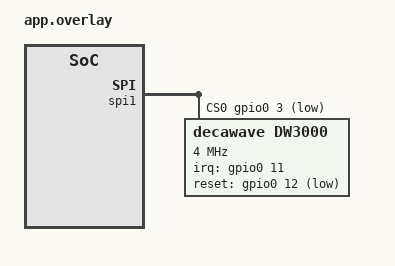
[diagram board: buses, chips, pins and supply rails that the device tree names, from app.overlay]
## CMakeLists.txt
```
# SPDX-License-Identifier: Apache-2.0

if(CONFIG_DW3000)

# Utilisation de zephyr_library pour les fichiers sources
zephyr_library()

zephyr_library_sources(
    platform/deca_port.c
    platform/dw3000_hw.c
    platform/dw3000_spi.c
    platform/dw3000_spi_trace.c
    platform/deca_compat.c
    dwt_uwb_driver/deca_interface.c
    dwt_uwb_driver/deca_rsl.c
    dwt_uwb_driver/lib/qmath/src/qmath.c
)

zephyr_library_sources_ifdef(CONFIG_DW3000_CHIP_DW3000 dwt_uwb_driver/dw3000/dw3000_device.c)
zephyr_library_sources_ifdef(CONFIG_DW3000_CHIP_DW3720 dwt_uwb_driver/dw3720/dw3720_device.c)

zephyr_include_directories(platform)
zephyr_include_directories(dwt_uwb_driver)
zephyr_include_directories(dwt_uwb_driver/lib/qmath/include)

endif(CONFIG_DW3000)

# Chargement explicite du SDK Nordic obligatoire
find_package(Zephyr REQUIRED HINTS $ENV{ZEPHYR_BASE})

project(uwb_receiver2)

# Fichier principal
target_sources(app PRIVATE src/main.c)

# Support BLE NUS (Nordic UART Service)
target_sources(app PRIVATE ${ZEPHYR_BASE}/../nrf/subsys/bluetooth/services/nus.c)
zephyr_include_directories(${ZEPHYR_BASE}/../nrf/subsys/bluetooth/services)
zephyr_include_directories(${ZEPHYR_BASE}/../nrf/include)
```

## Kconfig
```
# Désactiver OpenThread
config OPENTHREAD
    bool "Disable OpenThread"
    default n

config OPENTHREAD_DYNAMIC_STORE_FRAME_AHEAD_COUNTER
    bool "Disable dynamic store frame ahead counter"
    default n

config OPENTHREAD_CSL_RECEIVER_LOCAL_TIME_SYNC
    bool "Disable Openthread CSL receiver local time sync"
    default n

# Désactiver le support MCUMGR (pour la gestion du firmware)
config MCUMGR
    bool "Disable MCUMGR"
    default n

# Désactiver le Bluetooth
config BT
    bool "Disable Bluetooth stack"
    default n

# Désactiver Link Layer Split pour Bluetooth
config BT_LL_SW_SPLIT
    bool "Disable Bluetooth Link Layer Software Split"
    default n

# Désactiver Bluetooth UART Service (NUS)
config BT_NUS
    bool "Disable Bluetooth NUS"
    default n

# Désactiver les modules Wi-Fi
config WIFI_NM
    bool "Disable Wi-Fi"
    default n

config WIFI_NM_WPA_SUPPLICANT_WPA3
    bool "Disable WPA3"
    default n

config WIFI_NM_WPA_SUPPLICANT_CRYPTO_ENTERPRISE
    bool "Disable WPA Enterprise Crypto"
    default n

# Désactiver les modules inutiles pour le modem
config NRF_MODEM_LIB
    bool "Disable modem library"
    default n
```

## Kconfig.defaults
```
CONFIG_OPENTHREAD=n
CONFIG_OPENTHREAD_SHELL=n
CONFIG_OPENTHREAD_NORDIC_LIBRARY=n
CONFIG_OPENTHREAD_MTD=n
CONFIG_OPENTHREAD_FTD=n

CONFIG_WIFI=n
CONFIG_WIFI_NM=n
CONFIG_WIFI_NM_WPA_SUPPLICANT=n
CONFIG_WIFI_NM_WPA_SUPPLICANT_WPA3=n
CONFIG_WIFI_NM_WPA_SUPPLICANT_CRYPTO_ENTERPRISE=n

CONFIG_NRF_MODEM_LIB=n
CONFIG_MCUMGR=n
CONFIG_BOOTLOADER_MCUBOOT=n
CONFIG_FPROTECT=n
```

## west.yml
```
manifest:
  remotes:
    - name: ncs
      url-base: https://github.com/nrfconnect

  projects:
    - name: nrf
      repo-path: sdk-nrf
      remote: ncs
      revision: v2.9.1
      import: true

  self:
    path: uwb_receiver2
```

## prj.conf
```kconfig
CONFIG_WARN_DEPRECATED=n
CONFIG_OPENTHREAD=n
CONFIG_BT=n
CONFIG_MCUMGR=n
CONFIG_BT_LL_SW_SPLIT=n   # Désactive le Link Layer Split si non utilisé
CONFIG_WIFI_NM=n
CONFIG_NRF_MODEM_LIB=n

# === Console & Logs ===
CONFIG_LOG=y
CONFIG_LOG_MODE_IMMEDIATE=y
CONFIG_LOG_DEFAULT_LEVEL=3
CONFIG_PRINTK=y
CONFIG_SERIAL=y
CONFIG_UART_CONSOLE=y
CONFIG_CONSOLE=y

# === Périphériques ===
CONFIG_GPIO=y
CONFIG_SPI=y

# === DW3000 ===
CONFIG_DW3000=y
CONFIG_DW3000_MAC=y
CONFIG_DW3000_AUTO_ACK=y
CONFIG_DW3000_IRQ_GPIO=y
CONFIG_DW3000_DEV_NAME="DW3000"
CONFIG_DW3000_SPI_INIT_PRIORITY=90
CONFIG_DW3000_THREAD_STACK_SIZE=2048
CONFIG_DW3000_THREAD_PRIO=2
CONFIG_DW3000_CHIP_DW3000=y

# === Bluetooth (NUS) ===
CONFIG_BT=y
CONFIG_BT_PERIPHERAL=y
CONFIG_BT_DEVICE_NAME="UWB_BEACON"
CONFIG_BT_MAX_CONN=1
CONFIG_BT_NUS=y
CONFIG_BT_GATT_DYNAMIC_DB=y
```

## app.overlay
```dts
&spi1 {
    status = "okay";
    cs-gpios = <&gpio0 3 GPIO_ACTIVE_LOW>; /* P0.03 = SPI CS */

    dw3000: dw3000@0 {
        compatible = "decawave,dw3000";
        reg = <0>;
        spi-max-frequency = <4000000>;
        irq-gpios = <&gpio0 11 GPIO_ACTIVE_HIGH>; /* P0.11 = IRQ */
        reset-gpios = <&gpio0 12 GPIO_ACTIVE_LOW>; /* P0.12 = RESET */
        label = "DW3000";
        status = "okay";
    };
};

&{/aliases} {
    dw3000 = &dw3000;
};
```

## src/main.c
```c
#include <zephyr/kernel.h>
#include <zephyr/device.h>
#include <zephyr/logging/log.h>
#include <zephyr/drivers/uart.h>
#include <zephyr/sys/printk.h>
#include <bluetooth/bluetooth.h>
#include <bluetooth/conn.h>
#include <bluetooth/gatt.h>
#include <bluetooth/services/nus.h>
#include <stdio.h>
#include <string.h>
#include <stdlib.h>

#include "deca_device_api.h"
#include "dw3000_deca_regs.h"

LOG_MODULE_REGISTER(main);

#define UART_DEVICE_NODE DT_CHOSEN(zephyr_console)
#define MAX_STORED_TSTAMPS 20
#define RECEIVER_ID 1  // À personnaliser par balise
#define SYNC_TIMEOUT_MS 60000  // 60 secondes

static const struct device *uart_dev = DEVICE_DT_GET(UART_DEVICE_NODE);

K_THREAD_STACK_DEFINE(uart_stack, 1024);
struct k_thread uart_thread;

K_SEM_DEFINE(bt_cmd_sem, 0, 1);

// Tableau pour stocker les timestamps
static uint64_t timestamps[MAX_STORED_TSTAMPS];
static int ts_index = 0;
static uint64_t synced_time_ref = 0;
static int64_t last_sync_time = 0;

static struct bt_nus_cb nus_cb = {
    .received = NULL,
};

void store_timestamp(uint64_t ts_val) {
    timestamps[ts_index] = ts_val;
    ts_index = (ts_index + 1) % MAX_STORED_TSTAMPS;
}

void uart_thread_fn(void *a, void *b, void *c) {
    uint8_t bt_cmd[2] = {0};
    size_t idx = 0;

    static char sync_buf[32];
    static int sync_idx = 0;

    while (1) {
        uint8_t ch;
        if (uart_poll_in(uart_dev, &ch) == 0) {
            // Détection de la commande BT
            if (ch == 'B' || ch == 'T') {
                bt_cmd[idx++] = ch;
                if (idx == 2 && bt_cmd[0] == 'B' && bt_cmd[1] == 'T') {
                    printk("\nCommande BT reçue ! Passage en mode réception UWB...\n");
                    k_sem_give(&bt_cmd_sem);
                    idx = 0;
                }
            } else {
                idx = 0;
            }

            // Commande SYNC
            if (ch == 'S') {
                sync_buf[sync_idx++] = ch;
            } else if (sync_idx > 0) {
                sync_buf[sync_idx++] = ch;
                if (sync_idx >= 5 && strncmp(sync_buf, "SYNC:", 5) == 0) {
                    if (ch == '\n' || ch == '\r') {
                        sync_buf[sync_idx] = '\0';
                        uint64_t ts = strtoull(sync_buf + 5, NULL, 10);
                        synced_time_ref = ts;
                        last_sync_time = k_uptime_get();
                        printk(">> Synchronisation reçue : horloge alignée à %llu\n", synced_time_ref);
                        sync_idx = 0;
                    }
                } else if (sync_idx >= sizeof(sync_buf)) {
                    sync_idx = 0;
                }
            }
        }
        k_msleep(10);
    }
}

int main(void)
{
    printk("Initialisation du module DW3000...\n");

    if (!device_is_ready(uart_dev)) {
        printk("[ERREUR] UART non prête\n");
        return 1;
    }

    dwt_softreset(0);

    if (dwt_initialise(DWT_DW_INIT) != DWT_SUCCESS) {
        printk("\n[ERREUR] Echec initialisation du DW3000\n");
        return 1;
    }

    printk("DW3000 initialisé avec succès !\n");

    dwt_setchannel(5);
    dwt_configuretxrf(NULL);
    dwt_enableautoack(0, 0);
    dwt_setrxtimeout(0);

    k_thread_create(&uart_thread, uart_stack, K_THREAD_STACK_SIZEOF(uart_stack),
                    uart_thread_fn, NULL, NULL, NULL,
                    5, 0, K_NO_WAIT);

    int err = bt_enable(NULL);
    if (err) {
        printk("Bluetooth init failed (err %d)\n", err);
        return 1;
    }
    printk("Bluetooth initialized\n");

    err = bt_nus_init(&nus_cb);
    if (err) {
        printk("Failed to init NUS (err %d)\n", err);
        return 1;
    }

    err = bt_le_adv_start(BT_LE_ADV_CONN_NAME, NULL, 0, NULL, 0);
    if (err) {
        printk("BLE advertising failed (err %d)\n", err);
        return 1;
    }
    printk("BLE advertising started\n");

    printk("En attente d'une commande 'BT' via UART...\n");

    uint8_t rx_buffer[127];
    uint8_t ts[5];
    int msg_count = 0;

    while (1) {
        k_sem_take(&bt_cmd_sem, K_FOREVER);
        dwt_rxenable(DWT_START_RX_IMMEDIATE);

        int timeout = 500;
        while (timeout-- > 0) {
            if (dwt_checkirq() && dwt_readrdbstatus() & DWT_RDB_STATUS_RXFCG0_BIT_MASK) {
                dwt_readrxdata(rx_buffer, sizeof(rx_buffer), 0);
                dwt_readrxtimestamp(ts, 0);

                uint64_t ts_val = 0;
                for (int i = 0; i < 5; i++) {
                    ts_val |= ((uint64_t)ts[i]) << (i * 8);
                }

                // Timeout de resynchronisation
                if (synced_time_ref > 0 && (k_uptime_get() - last_sync_time > SYNC_TIMEOUT_MS)) {
                    printk("[INFO] Réinitialisation horloge (plus de synchro)\n");
                    synced_time_ref = 0;
                }

                uint64_t ts_relative = (synced_time_ref > 0) ? ts_val - synced_time_ref : ts_val;

                store_timestamp(ts_val);
                msg_count++;
                printk("\n[%d] Message UWB reçu : %s\n", msg_count, rx_buffer);
                printk("Horodatage (TDoA) : %02X%02X%02X%02X%02X | %llu\n",
                       ts[4], ts[3], ts[2], ts[1], ts[0], ts_relative);

                char msg[80];
                snprintf(msg, sizeof(msg), "<UWB_TS:%llu;ID:%02d>\n", ts_relative, RECEIVER_ID);

                for (int i = 0; msg[i] != '\0'; i++) {
                    uart_poll_out(uart_dev, msg[i]);
                }

                bt_nus_send(NULL, msg, strlen(msg));

                dwt_writesysstatuslo(DWT_INT_RXFCG_BIT_MASK);

                if (msg_count % 10 == 0) {
                    printk("%d messages UWB reçus jusqu'à présent.\n", msg_count);
                }

                break;
            }
            k_msleep(10);
        }

        if (timeout <= 0) {
            printk("Timeout de réception UWB.\n");
        }
    }
}
```
